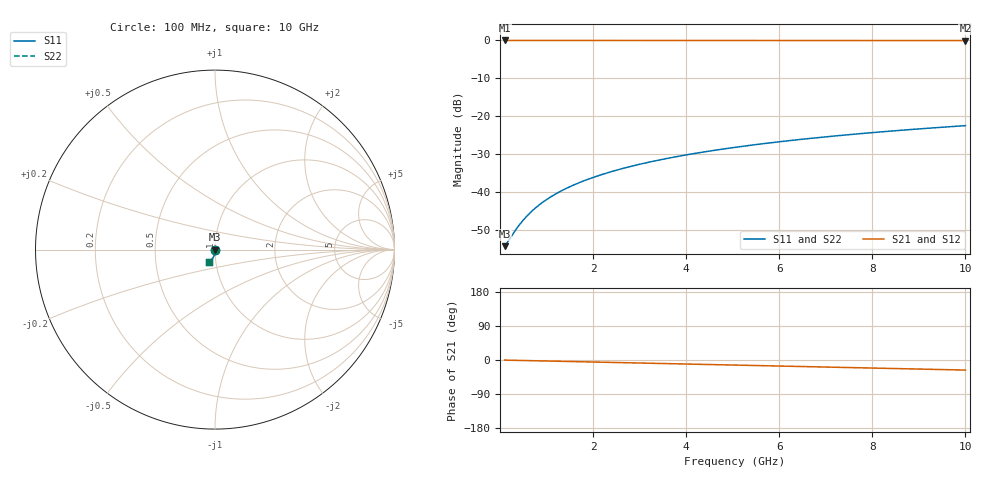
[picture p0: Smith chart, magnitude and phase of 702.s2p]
# Hz S RI R 50.00
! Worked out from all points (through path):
!   100 points, 100 MHz to 10 GHz, reference 50 ohm
!   highest |S21| = -0.02 dB at 100 MHz (marker M1); lowest = 0.0 dB at 10 GHz (marker M2)
!   group delay of S21, straight-line fit = 7.38 ps
!   lowest |S11| = -54.3 dB at 100 MHz (marker M3), VSWR 1.00, Z = 50.2 - j0.0782 ohm
!   |S11| at or under -10 dB: start of sweep to end of sweep
!   |S22| runs from -54.3 to -22.5 dB; largest |S21 - S12| = 0
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1e8  0.00176 -0.000779  0.9982 -0.00462  0.9982 -0.00462  0.00176 -0.000779
2e8  0.00176 -0.00156  0.9982 -0.00924  0.9982 -0.00924  0.00176 -0.00156
4e8  0.00173 -0.00312  0.998 -0.0185  0.998 -0.0185  0.00173 -0.00312
5e8  0.0017 -0.00389  0.9979 -0.0231  0.9979 -0.0231  0.0017 -0.00389
6e8  0.00166 -0.00467  0.9978 -0.0277  0.9978 -0.0277  0.00166 -0.00467
7e8  0.00162 -0.00545  0.9976 -0.0323  0.9976 -0.0323  0.00162 -0.00545
8e8  0.00156 -0.00623  0.9975 -0.0369  0.9975 -0.0369  0.00156 -0.00623
1e9  0.00144 -0.00778  0.9971 -0.0462  0.9971 -0.0462  0.00144 -0.00778
1.2e9  0.00128 -0.00934  0.9966 -0.0554  0.9966 -0.0554  0.00128 -0.00934
1.5e9  0.000995 -0.0117  0.9956 -0.0692  0.9956 -0.0692  0.000995 -0.0117
1.8e9  0.000641 -0.014  0.9945 -0.083  0.9945 -0.083  0.000641 -0.014
2.1e9  0.000223 -0.0163  0.9932 -0.0968  0.9932 -0.0968  0.000223 -0.0163
2.5e9  -0.000434 -0.0193  0.9912 -0.1152  0.9912 -0.1152  -0.000434 -0.0193
2.9e9  -0.0012 -0.0224  0.9888 -0.1336  0.9888 -0.1336  -0.0012 -0.0224
3.4e9  -0.00233 -0.0261  0.9853 -0.1564  0.9853 -0.1564  -0.00233 -0.0261
4.2e9  -0.00448 -0.032  0.9786 -0.1928  0.9786 -0.1928  -0.00448 -0.032
5.1e9  -0.00741 -0.0384  0.9695 -0.2334  0.9695 -0.2334  -0.00741 -0.0384
5.9e9  -0.0105 -0.0439  0.9598 -0.2691  0.9598 -0.2691  -0.0105 -0.0439
6.7e9  -0.0139 -0.0492  0.9489 -0.3045  0.9489 -0.3045  -0.0139 -0.0492
7.5e9  -0.0178 -0.0542  0.9366 -0.3394  0.9366 -0.3394  -0.0178 -0.0542
8.4e9  -0.0225 -0.0594  0.9211 -0.3781  0.9211 -0.3781  -0.0225 -0.0594
1e10  -0.032 -0.0678  0.8897 -0.4452  0.8897 -0.4452  -0.032 -0.0678
